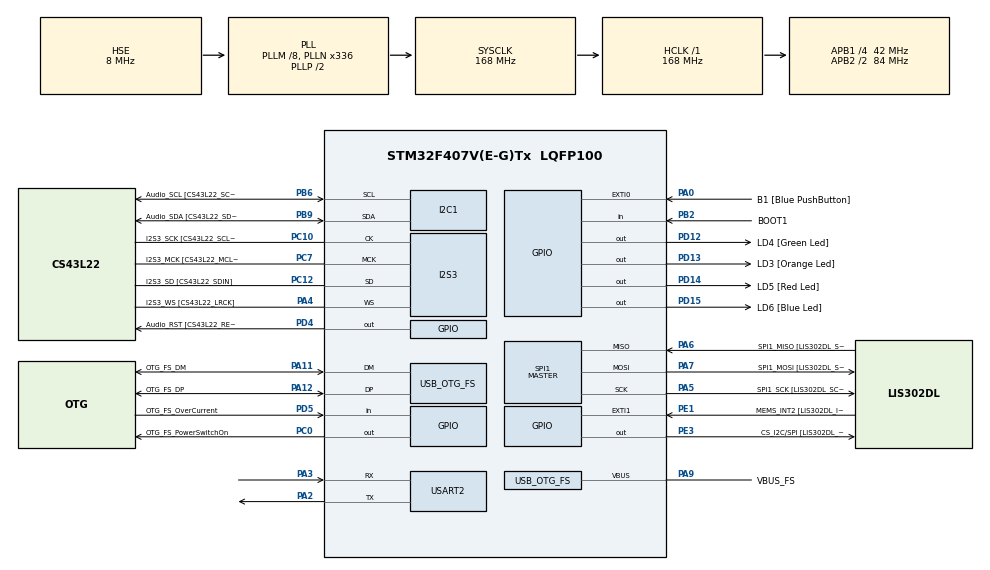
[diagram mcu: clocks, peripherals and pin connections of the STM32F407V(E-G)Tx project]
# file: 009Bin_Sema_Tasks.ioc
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I2S3.AudioFreq-Half_Duplex_Master=I2S_AUDIOFREQ_96K
I2S3.ErrorAudioFreq=-2.34 %
I2S3.ErrorAudioFreq-Half_Duplex_Master=0.8 %
I2S3.FullDuplexMode=I2S_FULLDUPLEXMODE_DISABLE
I2S3.Instance=SPI$Index
I2S3.RealAudioFreq=93.75 KHz
I2S3.RealAudioFreq-Half_Duplex_Master=96.774 KHz
I2S3.VirtualMode=I2S_MODE_MASTER
Mcu.Family=STM32F4
Mcu.Name=STM32F407V(E-G)Tx
Mcu.Package=LQFP100
NVIC.OTG_FS_IRQn=true\:0\:0\:false\:false\:true\:true\:true\:true
NVIC.PriorityGroup=NVIC_PRIORITYGROUP_4
NVIC.TIM6_DAC_IRQn=true\:15\:0\:false\:false\:true\:false\:true\:true
NVIC.TimeBase=TIM6_DAC_IRQn
NVIC.TimeBaseIP=TIM6
PA0-WKUP.GPIO_Label=B1 [Blue PushButton]
PA0-WKUP.GPIO_ModeDefaultEXTI=GPIO_MODE_EVT_RISING
PA0-WKUP.GPIO_PuPd=GPIO_NOPULL
PA0-WKUP.Signal=GPXTI0
PA10.GPIO_Label=OTG_FS_ID
PA10.GPIO_Mode=GPIO_MODE_AF_PP
PA10.GPIO_PuPd=GPIO_NOPULL
PA10.GPIO_Speed=GPIO_SPEED_FREQ_LOW
PA10.Signal=USB_OTG_FS_ID
PA11.GPIO_Label=OTG_FS_DM
PA11.GPIO_Mode=GPIO_MODE_AF_PP
PA11.GPIO_PuPd=GPIO_NOPULL
PA11.GPIO_Speed=GPIO_SPEED_FREQ_LOW
PA11.Mode=Host_Only
PA11.Signal=USB_OTG_FS_DM
PA12.GPIO_Label=OTG_FS_DP
PA12.GPIO_Mode=GPIO_MODE_AF_PP
PA12.GPIO_PuPd=GPIO_NOPULL
PA12.GPIO_Speed=GPIO_SPEED_FREQ_LOW
PA12.Mode=Host_Only
PA12.Signal=USB_OTG_FS_DP
PA13.GPIO_Label=SWDIO
PA13.Mode=Serial_Wire
PA13.Signal=SYS_JTMS-SWDIO
PA14.GPIO_Label=SWCLK
PA14.Mode=Serial_Wire
PA14.Signal=SYS_JTCK-SWCLK
PA2.Mode=Asynchronous
PA2.Signal=USART2_TX
PA3.Mode=Asynchronous
PA3.Signal=USART2_RX
PA4.GPIO_Label=I2S3_WS [CS43L22_LRCK]
PA4.GPIO_Mode=GPIO_MODE_AF_PP
PA4.GPIO_PuPd=GPIO_NOPULL
PA4.GPIO_Speed=GPIO_SPEED_FREQ_LOW
PA4.Mode=Half_Duplex_Master
PA4.Signal=I2S3_WS
PA5.GPIO_Label=SPI1_SCK [LIS302DL_SCL/SPC]
PA5.GPIO_Mode=GPIO_MODE_AF_PP
PA5.GPIO_PuPd=GPIO_NOPULL
PA5.GPIO_Speed=GPIO_SPEED_FREQ_LOW
PA5.Mode=Full_Duplex_Master
PA5.Signal=SPI1_SCK
PA6.GPIO_Label=SPI1_MISO [LIS302DL_SDO]
PA6.GPIO_Mode=GPIO_MODE_AF_PP
PA6.GPIO_PuPd=GPIO_NOPULL
PA6.GPIO_Speed=GPIO_SPEED_FREQ_LOW
PA6.Mode=Full_Duplex_Master
PA6.Signal=SPI1_MISO
PA7.GPIO_Label=SPI1_MOSI [LIS302DL_SDA/SDI/SDO]
PA7.GPIO_Mode=GPIO_MODE_AF_PP
PA7.GPIO_PuPd=GPIO_NOPULL
PA7.GPIO_Speed=GPIO_SPEED_FREQ_LOW
PA7.Mode=Full_Duplex_Master
PA7.Signal=SPI1_MOSI
PA9.GPIO_Label=VBUS_FS
PA9.GPIO_Mode=GPIO_MODE_INPUT
PA9.GPIO_PuPd=GPIO_NOPULL
PA9.Mode=Activate_VBUS
PA9.Signal=USB_OTG_FS_VBUS
PB10.GPIO_Label=CLK_IN [MP45DT02_CLK]
PB10.GPIO_Mode=GPIO_MODE_AF_PP
PB10.GPIO_PuPd=GPIO_NOPULL
PB10.GPIO_Speed=GPIO_SPEED_FREQ_LOW
PB10.Signal=I2S2_CK
PB2.GPIO_Label=BOOT1
PB2.GPIO_Mode=GPIO_MODE_INPUT
PB2.GPIO_PuPd=GPIO_NOPULL
PB2.Signal=GPIO_Input
PB3.GPIO_Label=SWO
PB3.Signal=SYS_JTDO-SWO
PB6.GPIO_Label=Audio_SCL [CS43L22_SCL]
PB6.GPIO_Mode=GPIO_MODE_AF_OD
PB6.GPIO_Pu=GPIO_PULLUP
PB6.GPIO_PuPd=GPIO_NOPULL
PB6.GPIO_Speed=GPIO_SPEED_FREQ_LOW
PB6.Mode=I2C
PB6.Signal=I2C1_SCL
PB9.GPIO_Label=Audio_SDA [CS43L22_SDA]
PB9.GPIO_Mode=GPIO_MODE_AF_OD
PB9.GPIO_Pu=GPIO_PULLUP
PB9.GPIO_PuPd=GPIO_NOPULL
PB9.GPIO_Speed=GPIO_SPEED_FREQ_LOW
PB9.Mode=I2C
PB9.Signal=I2C1_SDA
PC0.GPIO_Label=OTG_FS_PowerSwitchOn
PC0.GPIO_PuPd=GPIO_NOPULL
PC0.GPIO_Speed=GPIO_SPEED_FREQ_LOW
PC0.PinState=GPIO_PIN_SET
PC0.Signal=GPIO_Output
PC10.GPIO_Label=I2S3_SCK [CS43L22_SCLK]
PC10.GPIO_Mode=GPIO_MODE_AF_PP
PC10.GPIO_PuPd=GPIO_NOPULL
PC10.GPIO_Speed=GPIO_SPEED_FREQ_LOW
PC10.Mode=Half_Duplex_Master
PC10.Signal=I2S3_CK
PC12.GPIO_Label=I2S3_SD [CS43L22_SDIN]
PC12.GPIO_Mode=GPIO_MODE_AF_PP
PC12.GPIO_PuPd=GPIO_NOPULL
PC12.GPIO_Speed=GPIO_SPEED_FREQ_LOW
PC12.Mode=Half_Duplex_Master
PC12.Signal=I2S3_SD
PC14-OSC32_IN.GPIO_Label=PC14-OSC32_IN
PC14-OSC32_IN.Mode=LSE-External-Oscillator
PC14-OSC32_IN.Signal=RCC_OSC32_IN
PC15-OSC32_OUT.GPIO_Label=PC15-OSC32_OUT
PC15-OSC32_OUT.Mode=LSE-External-Oscillator
PC15-OSC32_OUT.Signal=RCC_OSC32_OUT
PC3.GPIO_Label=PDM_OUT [MP45DT02_DOUT]
PC3.GPIO_Mode=GPIO_MODE_AF_PP
PC3.GPIO_PuPd=GPIO_NOPULL
PC3.GPIO_Speed=GPIO_SPEED_FREQ_LOW
PC3.Signal=I2S2_SD
PC7.GPIO_Label=I2S3_MCK [CS43L22_MCLK]
PC7.GPIO_Mode=GPIO_MODE_AF_PP
PC7.GPIO_PuPd=GPIO_NOPULL
PC7.GPIO_Speed=GPIO_SPEED_FREQ_LOW
PC7.Mode=Master_Clock_Activated
PC7.Signal=I2S3_MCK
PD12.GPIO_Label=LD4 [Green Led]
PD12.GPIO_PuPd=GPIO_NOPULL
PD12.GPIO_Speed=GPIO_SPEED_FREQ_LOW
PD12.Signal=GPIO_Output
PD13.GPIO_Label=LD3 [Orange Led]
PD13.GPIO_PuPd=GPIO_NOPULL
PD13.GPIO_Speed=GPIO_SPEED_FREQ_LOW
PD13.Signal=GPIO_Output
PD14.GPIO_Label=LD5 [Red Led]
PD14.GPIO_PuPd=GPIO_NOPULL
PD14.GPIO_Speed=GPIO_SPEED_FREQ_LOW
PD14.Signal=GPIO_Output
PD15.GPIO_Label=LD6 [Blue Led]
PD15.GPIO_PuPd=GPIO_NOPULL
PD15.GPIO_Speed=GPIO_SPEED_FREQ_LOW
PD15.Signal=GPIO_Output
PD4.GPIO_Label=Audio_RST [CS43L22_RESET]
PD4.GPIO_PuPd=GPIO_NOPULL
PD4.GPIO_Speed=GPIO_SPEED_FREQ_LOW
PD4.Signal=GPIO_Output
PD5.GPIO_Label=OTG_FS_OverCurrent
PD5.GPIO_Mode=GPIO_MODE_INPUT
PD5.GPIO_PuPd=GPIO_NOPULL
PD5.Signal=GPIO_Input
PE1.GPIO_Label=MEMS_INT2 [LIS302DL_INT2]
PE1.GPIO_ModeDefaultEXTI=GPIO_MODE_EVT_RISING
PE1.GPIO_PuPd=GPIO_NOPULL
PE1.Signal=GPXTI1
PE3.GPIO_Label=CS_I2C/SPI [LIS302DL_CS_I2C/SPI]
PE3.GPIO_PuPd=GPIO_NOPULL
PE3.GPIO_Speed=GPIO_SPEED_FREQ_LOW
PE3.Signal=GPIO_Output
PH0-OSC_IN.GPIO_Label=PH0-OSC_IN
PH0-OSC_IN.Mode=HSE-External-Oscillator
PH0-OSC_IN.Signal=RCC_OSC_IN
PH1-OSC_OUT.GPIO_Label=PH1-OSC_OUT
PH1-OSC_OUT.Mode=HSE-External-Oscillator
PH1-OSC_OUT.Signal=RCC_OSC_OUT
ProjectManager.HeapSize=0x200
ProjectManager.StackSize=0x400
ProjectManager.TargetToolchain=STM32CubeIDE
RCC.48MHZClocksFreq_Value=48000000
RCC.AHBFreq_Value=168000000
RCC.APB1CLKDivider=RCC_HCLK_DIV4
RCC.APB1Freq_Value=42000000
RCC.APB1TimFreq_Value=84000000
RCC.APB2CLKDivider=RCC_HCLK_DIV2
RCC.APB2Freq_Value=84000000
RCC.APB2TimFreq_Value=168000000
RCC.CortexFreq_Value=168000000
RCC.HCLKFreq_Value=168000000
RCC.HSE_VALUE=8000000
RCC.HSI_VALUE=16000000
RCC.PLLM=8
RCC.PLLN=336
RCC.PLLQ=7
RCC.SYSCLKFreq_VALUE=168000000
RCC.SYSCLKSource=RCC_SYSCLKSOURCE_PLLCLK
RCC.VCOOutputFreq_Value=336000000
SPI1.BaudRatePrescaler-Full_Duplex_Master=SPI_BAUDRATEPRESCALER_2
SPI1.CalculateBaudRate-Full_Duplex_Master=42.0 MBits/s
SPI1.Direction=SPI_DIRECTION_2LINES
SPI1.Mode=SPI_MODE_MASTER
SPI1.Mode-Full_Duplex_Master=SPI_MODE_MASTER
SPI1.VirtualType=VM_MASTER
USART2.VirtualMode=VM_ASYNC
USB_HOST.BSP.number=1
USB_HOST.USBH_HandleTypeDef-CDC_FS=hUsbHostFS
USB_HOST.VirtualModeFS=Cdc
USB_HOST0.BSP.STBoard=false
USB_HOST0.BSP.api=Unknown
USB_HOST0.BSP.instance=PC0
USB_HOST0.BSP.ip=GPIO
USB_HOST0.BSP.mode=Output
USB_HOST0.BSP.name=Drive_VBUS_FS
USB_HOST0.BSP.solution=PC0
USB_OTG_FS.VirtualMode=Host_Only
USB_OTG_FS.phy_itface=HCD_PHY_EMBEDDED
VP_SYS_VS_tim6.Mode=TIM6
VP_USB_HOST_VS_USB_HOST_CDC_FS.Mode=CDC_FS
board=STM32F407G-DISC1

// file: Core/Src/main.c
/* USER CODE BEGIN Header */
/**
  ******************************************************************************
  * @file           : main.c
  * @brief          : Main program body
  ******************************************************************************
  * @attention
  *
  * Copyright (c) 2024 STMicroelectronics.
  * All rights reserved.
  *
  * This software is licensed under terms that can be found in the LICENSE file
  * in the root directory of this software component.
  * If no LICENSE file comes with this software, it is provided AS-IS.
  *
  ******************************************************************************
  */
/* USER CODE END Header */
#include "main.h"
#include "usb_host.h"

/* USER CODE BEGIN Includes */
#include <stdio.h>
#include <stdlib.h>
#include "FreeRTOS.h"
#include "task.h"
#include "semphr.h"
#include "queue.h"
/* USER CODE END Includes */

I2C_HandleTypeDef hi2c1;

I2S_HandleTypeDef hi2s3;

SPI_HandleTypeDef hspi1;

UART_HandleTypeDef huart2;

/* USER CODE BEGIN PV */
char usr_msg[250]={0};

TaskHandle_t xTaskHandleM=NULL;
TaskHandle_t xTaskHandleE=NULL;

/* USER CODE END PV */

void SystemClock_Config(void);
static void MX_GPIO_Init(void);
static void MX_I2C1_Init(void);
static void MX_I2S3_Init(void);
static void MX_SPI1_Init(void);
static void MX_USART2_UART_Init(void);
void MX_USB_HOST_Process(void);

/* USER CODE BEGIN 0 */
static void vManagerTask( void *pvParameters );
static void vEmployeeTask( void *pvParameters );
void EmployeeDoWork(unsigned char TicketId);

/* Declare a variable of type xSemaphoreHandle.  This is used to reference the
semaphore that is used to synchronize both manager and employee task */
xSemaphoreHandle xWork;

/* this is the queue which manager uses to put the work ticket id */
xQueueHandle xWorkQueue;
/* USER CODE END 0 */

int main(void)
{

  /* MCU Configuration--------------------------------------------------------*/

  /* Reset of all peripherals, Initializes the Flash interface and the Systick. */
  HAL_Init();

  /* Configure the system clock */
  SystemClock_Config();

  /* Initialize all configured peripherals */
  MX_GPIO_Init();
  MX_I2C1_Init();
  MX_I2S3_Init();
  MX_SPI1_Init();
  MX_USB_HOST_Init();
  MX_USART2_UART_Init();
  /* USER CODE BEGIN 2 */

  /* Before a semaphore is used it must be explicitly created.
   * In this example a binary semaphore is created . */
  vSemaphoreCreateBinary( xWork );

	/* The queue is created to hold a maximum of 1 Element. */
  xWorkQueue = xQueueCreate( 1, sizeof( unsigned int ) );

  /* Check the semaphore and queue was created successfully. */
  if( (xWork != NULL) && (xWorkQueue != NULL) )
  {

		/* Create the 'Manager' task.  This is the task that will be synchronized with the Employee task.  The Manager task is created with a high priority  */
      xTaskCreate( vManagerTask, "Manager", 500, NULL, 3, NULL );

      /* Create a employee task with less priority than manager */
      xTaskCreate( vEmployeeTask, "Employee", 500, NULL, 1, NULL );

      /* Start the scheduler so the created tasks start executing. */
      vTaskStartScheduler();
  }

  /* USER CODE END 2 */

  /* Infinite loop */
  while (1)
  {
    MX_USB_HOST_Process();

  }
}

void SystemClock_Config(void)
{
  RCC_OscInitTypeDef RCC_OscInitStruct = {0};
  RCC_ClkInitTypeDef RCC_ClkInitStruct = {0};

  /** Configure the main internal regulator output voltage
  */
  __HAL_RCC_PWR_CLK_ENABLE();
  __HAL_PWR_VOLTAGESCALING_CONFIG(PWR_REGULATOR_VOLTAGE_SCALE1);

  /** Initializes the RCC Oscillators according to the specified parameters
  * in the RCC_OscInitTypeDef structure.
  */
  RCC_OscInitStruct.OscillatorType = RCC_OSCILLATORTYPE_HSE;
  RCC_OscInitStruct.HSEState = RCC_HSE_ON;
  RCC_OscInitStruct.PLL.PLLState = RCC_PLL_ON;
  RCC_OscInitStruct.PLL.PLLSource = RCC_PLLSOURCE_HSE;
  RCC_OscInitStruct.PLL.PLLM = 8;
  RCC_OscInitStruct.PLL.PLLN = 336;
  RCC_OscInitStruct.PLL.PLLP = RCC_PLLP_DIV2;
  RCC_OscInitStruct.PLL.PLLQ = 7;
  if (HAL_RCC_OscConfig(&RCC_OscInitStruct) != HAL_OK)
  {
    Error_Handler();
  }

  /** Initializes the CPU, AHB and APB buses clocks
  */
  RCC_ClkInitStruct.ClockType = RCC_CLOCKTYPE_HCLK|RCC_CLOCKTYPE_SYSCLK
                              |RCC_CLOCKTYPE_PCLK1|RCC_CLOCKTYPE_PCLK2;
  RCC_ClkInitStruct.SYSCLKSource = RCC_SYSCLKSOURCE_PLLCLK;
  RCC_ClkInitStruct.AHBCLKDivider = RCC_SYSCLK_DIV1;
  RCC_ClkInitStruct.APB1CLKDivider = RCC_HCLK_DIV4;
  RCC_ClkInitStruct.APB2CLKDivider = RCC_HCLK_DIV2;

  if (HAL_RCC_ClockConfig(&RCC_ClkInitStruct, FLASH_LATENCY_5) != HAL_OK)
  {
    Error_Handler();
  }
}

static void MX_I2C1_Init(void)
{

  hi2c1.Instance = I2C1;
  hi2c1.Init.ClockSpeed = 100000;
  hi2c1.Init.DutyCycle = I2C_DUTYCYCLE_2;
  hi2c1.Init.OwnAddress1 = 0;
  hi2c1.Init.AddressingMode = I2C_ADDRESSINGMODE_7BIT;
  hi2c1.Init.DualAddressMode = I2C_DUALADDRESS_DISABLE;
  hi2c1.Init.OwnAddress2 = 0;
  hi2c1.Init.GeneralCallMode = I2C_GENERALCALL_DISABLE;
  hi2c1.Init.NoStretchMode = I2C_NOSTRETCH_DISABLE;
  if (HAL_I2C_Init(&hi2c1) != HAL_OK)
  {
    Error_Handler();
  }

}

static void MX_I2S3_Init(void)
{

  hi2s3.Instance = SPI3;
  hi2s3.Init.Mode = I2S_MODE_MASTER_TX;
  hi2s3.Init.Standard = I2S_STANDARD_PHILIPS;
  hi2s3.Init.DataFormat = I2S_DATAFORMAT_16B;
  hi2s3.Init.MCLKOutput = I2S_MCLKOUTPUT_ENABLE;
  hi2s3.Init.AudioFreq = I2S_AUDIOFREQ_96K;
  hi2s3.Init.CPOL = I2S_CPOL_LOW;
  hi2s3.Init.ClockSource = I2S_CLOCK_PLL;
  hi2s3.Init.FullDuplexMode = I2S_FULLDUPLEXMODE_DISABLE;
  if (HAL_I2S_Init(&hi2s3) != HAL_OK)
  {
    Error_Handler();
  }

}

static void MX_SPI1_Init(void)
{

  /* SPI1 parameter configuration*/
  hspi1.Instance = SPI1;
  hspi1.Init.Mode = SPI_MODE_MASTER;
  hspi1.Init.Direction = SPI_DIRECTION_2LINES;
  hspi1.Init.DataSize = SPI_DATASIZE_8BIT;
  hspi1.Init.CLKPolarity = SPI_POLARITY_LOW;
  hspi1.Init.CLKPhase = SPI_PHASE_1EDGE;
  hspi1.Init.NSS = SPI_NSS_SOFT;
  hspi1.Init.BaudRatePrescaler = SPI_BAUDRATEPRESCALER_2;
  hspi1.Init.FirstBit = SPI_FIRSTBIT_MSB;
  hspi1.Init.TIMode = SPI_TIMODE_DISABLE;
  hspi1.Init.CRCCalculation = SPI_CRCCALCULATION_DISABLE;
  hspi1.Init.CRCPolynomial = 10;
  if (HAL_SPI_Init(&hspi1) != HAL_OK)
  {
    Error_Handler();
  }

}

static void MX_USART2_UART_Init(void)
{

  huart2.Instance = USART2;
  huart2.Init.BaudRate = 115200;
  huart2.Init.WordLength = UART_WORDLENGTH_8B;
  huart2.Init.StopBits = UART_STOPBITS_1;
  huart2.Init.Parity = UART_PARITY_NONE;
  huart2.Init.Mode = UART_MODE_TX_RX;
  huart2.Init.HwFlowCtl = UART_HWCONTROL_NONE;
  huart2.Init.OverSampling = UART_OVERSAMPLING_16;
  if (HAL_UART_Init(&huart2) != HAL_OK)
  {
    Error_Handler();
  }

}

static void MX_GPIO_Init(void)
{
  GPIO_InitTypeDef GPIO_InitStruct = {0};

  /* GPIO Ports Clock Enable */
  __HAL_RCC_GPIOE_CLK_ENABLE();
  __HAL_RCC_GPIOC_CLK_ENABLE();
  __HAL_RCC_GPIOH_CLK_ENABLE();
  __HAL_RCC_GPIOA_CLK_ENABLE();
  __HAL_RCC_GPIOB_CLK_ENABLE();
  __HAL_RCC_GPIOD_CLK_ENABLE();

  /*Configure GPIO pin Output Level */
  HAL_GPIO_WritePin(CS_I2C_SPI_GPIO_Port, CS_I2C_SPI_Pin, GPIO_PIN_RESET);

  /*Configure GPIO pin Output Level */
  HAL_GPIO_WritePin(OTG_FS_PowerSwitchOn_GPIO_Port, OTG_FS_PowerSwitchOn_Pin, GPIO_PIN_SET);

  /*Configure GPIO pin Output Level */
  HAL_GPIO_WritePin(GPIOD, LD4_Pin|LD3_Pin|LD5_Pin|LD6_Pin
                          |Audio_RST_Pin, GPIO_PIN_RESET);

  /*Configure GPIO pin : CS_I2C_SPI_Pin */
  GPIO_InitStruct.Pin = CS_I2C_SPI_Pin;
  GPIO_InitStruct.Mode = GPIO_MODE_OUTPUT_PP;
  GPIO_InitStruct.Pull = GPIO_NOPULL;
  GPIO_InitStruct.Speed = GPIO_SPEED_FREQ_LOW;
  HAL_GPIO_Init(CS_I2C_SPI_GPIO_Port, &GPIO_InitStruct);

  /*Configure GPIO pin : OTG_FS_PowerSwitchOn_Pin */
  GPIO_InitStruct.Pin = OTG_FS_PowerSwitchOn_Pin;
  GPIO_InitStruct.Mode = GPIO_MODE_OUTPUT_PP;
  GPIO_InitStruct.Pull = GPIO_NOPULL;
  GPIO_InitStruct.Speed = GPIO_SPEED_FREQ_LOW;
  HAL_GPIO_Init(OTG_FS_PowerSwitchOn_GPIO_Port, &GPIO_InitStruct);

  /*Configure GPIO pin : PDM_OUT_Pin */
  GPIO_InitStruct.Pin = PDM_OUT_Pin;
  GPIO_InitStruct.Mode = GPIO_MODE_AF_PP;
  GPIO_InitStruct.Pull = GPIO_NOPULL;
  GPIO_InitStruct.Speed = GPIO_SPEED_FREQ_LOW;
  GPIO_InitStruct.Alternate = GPIO_AF5_SPI2;
  HAL_GPIO_Init(PDM_OUT_GPIO_Port, &GPIO_InitStruct);

  /*Configure GPIO pin : B1_Pin */
  GPIO_InitStruct.Pin = B1_Pin;
  GPIO_InitStruct.Mode = GPIO_MODE_EVT_RISING;
  GPIO_InitStruct.Pull = GPIO_NOPULL;
  HAL_GPIO_Init(B1_GPIO_Port, &GPIO_InitStruct);

  /*Configure GPIO pin : BOOT1_Pin */
  GPIO_InitStruct.Pin = BOOT1_Pin;
  GPIO_InitStruct.Mode = GPIO_MODE_INPUT;
  GPIO_InitStruct.Pull = GPIO_NOPULL;
  HAL_GPIO_Init(BOOT1_GPIO_Port, &GPIO_InitStruct);

  /*Configure GPIO pin : CLK_IN_Pin */
  GPIO_InitStruct.Pin = CLK_IN_Pin;
  GPIO_InitStruct.Mode = GPIO_MODE_AF_PP;
  GPIO_InitStruct.Pull = GPIO_NOPULL;
  GPIO_InitStruct.Speed = GPIO_SPEED_FREQ_LOW;
  GPIO_InitStruct.Alternate = GPIO_AF5_SPI2;
  HAL_GPIO_Init(CLK_IN_GPIO_Port, &GPIO_InitStruct);

  /*Configure GPIO pins : LD4_Pin LD3_Pin LD5_Pin LD6_Pin
                           Audio_RST_Pin */
  GPIO_InitStruct.Pin = LD4_Pin|LD3_Pin|LD5_Pin|LD6_Pin
                          |Audio_RST_Pin;
  GPIO_InitStruct.Mode = GPIO_MODE_OUTPUT_PP;
  GPIO_InitStruct.Pull = GPIO_NOPULL;
  GPIO_InitStruct.Speed = GPIO_SPEED_FREQ_LOW;
  HAL_GPIO_Init(GPIOD, &GPIO_InitStruct);

  /*Configure GPIO pin : OTG_FS_OverCurrent_Pin */
  GPIO_InitStruct.Pin = OTG_FS_OverCurrent_Pin;
  GPIO_InitStruct.Mode = GPIO_MODE_INPUT;
  GPIO_InitStruct.Pull = GPIO_NOPULL;
  HAL_GPIO_Init(OTG_FS_OverCurrent_GPIO_Port, &GPIO_InitStruct);

  /*Configure GPIO pin : MEMS_INT2_Pin */
  GPIO_InitStruct.Pin = MEMS_INT2_Pin;
  GPIO_InitStruct.Mode = GPIO_MODE_EVT_RISING;
  GPIO_InitStruct.Pull = GPIO_NOPULL;
  HAL_GPIO_Init(MEMS_INT2_GPIO_Port, &GPIO_InitStruct);

}

/* USER CODE BEGIN 4 */
void vManagerTask( void *pvParameters )
{

	 unsigned int xWorkTicketId;
	 portBASE_TYPE xStatus;

   /* The semaphore is created in the 'empty' state, meaning the semaphore must
	 first be given using the xSemaphoreGive() API function before it
	 can subsequently be taken (obtained) */
   xSemaphoreGive( xWork);

   for( ;; )
   {
       /* get a work ticket id(some random number) */
       xWorkTicketId = ( rand() & 0x1FF );

		/* Sends work ticket id to the work queue */
		xStatus = xQueueSend( xWorkQueue, &xWorkTicketId , portMAX_DELAY ); //Post an item on back of the queue

		if( xStatus != pdPASS )
		{
			printf("Could not send to the queue.\r\n");
		}else
		{
			/* Manager notifying the employee by "Giving" semaphore */
			xSemaphoreGive( xWork);
			/* after assigning the work , just yield the processor because nothing to do */
			taskYIELD();

		}
   }
}
/*-----------------------------------------------------------*/

void EmployeeDoWork(unsigned char TicketId)
{
	/* implement the work according to TickedID */
	printf("Employee task : Working on Ticked id : %d\r\n",TicketId);
	vTaskDelay(TicketId);
}

static void vEmployeeTask( void *pvParameters )
{

	unsigned char xWorkTicketId;
	portBASE_TYPE xStatus;
    /* As per most tasks, this task is implemented within an infinite loop. */
    for( ;; )
    {
		/* First Employee tries to take the semaphore, if it is available that means there is a task assigned by manager, otherwise employee task will be blocked */
		xSemaphoreTake( xWork, 0 );

		/* get the ticket id from the work queue */
		xStatus = xQueueReceive( xWorkQueue, &xWorkTicketId, 0 );

		if( xStatus == pdPASS )
		{
		  /* employee may decode the xWorkTicketId in this function to do the work*/
			EmployeeDoWork(xWorkTicketId);
		}
		else
		{
			/* We did not receive anything from the queue.  This must be an error as this task should only run when the manager assigns at least one work. */
			printf("Employee task : Queue is empty , nothing to do.\r\n");
		}
    }
}
/* USER CODE END 4 */

void HAL_TIM_PeriodElapsedCallback(TIM_HandleTypeDef *htim)
{
  if (htim->Instance == TIM6) {
    HAL_IncTick();
  }
}

void Error_Handler(void)
{
  __disable_irq();
  while (1)
  {
  }
}
